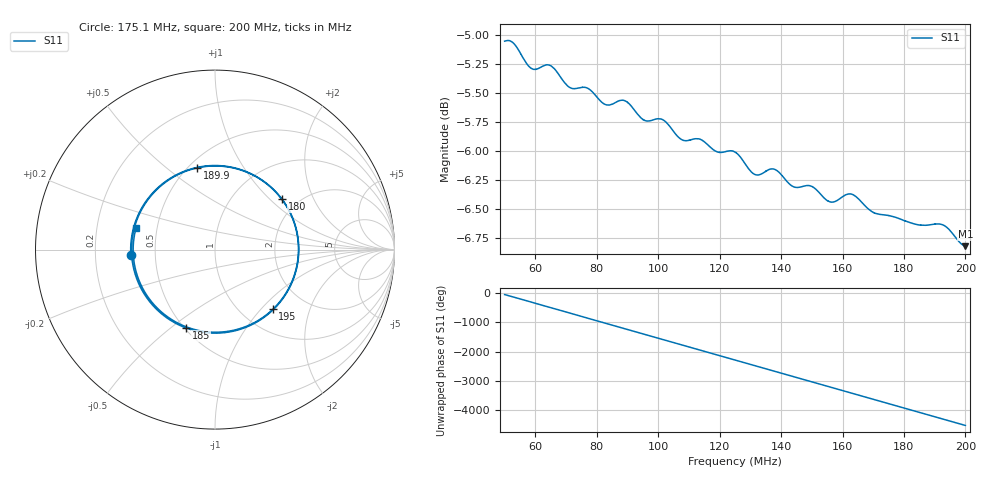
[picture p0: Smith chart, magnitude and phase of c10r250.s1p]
! COPPER MOUNTAIN TECHNOLOGIES, PLANAR TR1300/1, 00071119, 20.2.2/1.0
! Date: 1/9/2024 7:22:40 PM
! Data: Format [Calibration Info]
! Freq  S11: Re/Im F1
# HZ S RI R 50
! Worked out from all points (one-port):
!   12288 points, 50 MHz to 200 MHz, reference 50 ohm
!   lowest |S11| = -6.8 dB at 200 MHz (marker M1), VSWR 2.68, Z = 19 + j6.1 ohm
!   |S11| at or under -10 dB: nowhere
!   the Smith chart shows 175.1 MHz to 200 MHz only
!   S11 on the Smith chart (normalised r, x): 175.1 MHz: 0.36, -0.03; 180 MHz: 1.65, +1.19; 185 MHz: 0.51, -0.57; 189.9 MHz: 0.55, +0.64; 195 MHz: 1.38, -1.17; 200 MHz: 0.38, +0.12
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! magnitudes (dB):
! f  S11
! 50 MHz  -5.1
! 52.99 MHz  -5.1
! 58.62 MHz  -5.3
! 64.64 MHz  -5.3
! 68.75 MHz  -5.4
! 71.72 MHz  -5.5
! 77.25 MHz  -5.5
! 82.88 MHz  -5.6
! 87.5 MHz  -5.6
! 95.52 MHz  -5.7
! 101.7 MHz  -5.7
! 106.3 MHz  -5.9
! 125 MHz  -6.0
! 131.1 MHz  -6.2
! 137.8 MHz  -6.2
! 143.8 MHz  -6.3
! 149.9 MHz  -6.3
! 156.3 MHz  -6.4
! 162.5 MHz  -6.4
! 169.8 MHz  -6.5
! 175.1 MHz  -6.6
! 180 MHz  -6.6
! 181.3 MHz  -6.6
! 185 MHz  -6.6
! 189.9 MHz  -6.6
! 195 MHz  -6.7
! 200 MHz  -6.8
! 200 MHz  -6.8
